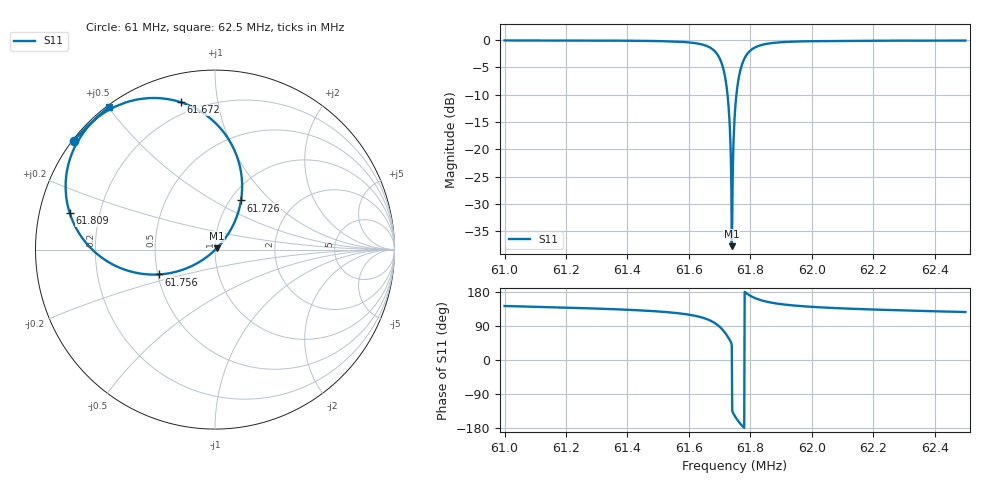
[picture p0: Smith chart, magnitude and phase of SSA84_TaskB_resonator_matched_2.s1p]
#  HZ  S  DB  R  50.00
! Rohde & Schwarz ZVB8 2Ports - Version 3.70 - 1145.1010k08 SN: 100925
! Date: 2021-12-10 17:20:26
! Measurement: S11
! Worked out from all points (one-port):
!   1001 points, 61 MHz to 62.5 MHz, reference 50 ohm
!   lowest |S11| = -37.8 dB at 61.739 MHz (marker M1), VSWR 1.03, Z = 51 + j0.803 ohm
!   |S11| at or under -10 dB: 61.72566 MHz to 61.75461 MHz (28.96 kHz wide, 0.0469 % of centre)
!   S11 on the Smith chart (normalised r, x): 61 MHz: 0.00, +0.34; 61.672 MHz: 0.14, +0.78; 61.726 MHz: 1.12, +0.68; 61.756 MHz: 0.51, -0.16; 61.809 MHz: 0.09, +0.12; 62.5 MHz: 0.01, +0.50
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6.1e7  -0.07 142.4
6.11875e7  -0.08 138.5
6.1375e7  -0.11 133.4
6.15625e7  -0.29 123.7
6.1627e7  -0.62 115.4
6.1672e7  -1.48 103.1
6.16915e7  -2.53 93.4
6.17065e7  -4.24 82.6
6.17185e7  -6.99 70.9
6.1726e7  -10.18 62.1
6.17305e7  -13.31 56.3
6.17335e7  -16.48 52.2
6.1735e7  -18.70 50.0
6.17395e7  -37.75 37.4
6.17425e7  -25.00 -137.5
6.17455e7  -18.11 -142.5
6.1747e7  -16.05 -144.6
6.175e7  -13.05 -148.7
6.1756e7  -9.30 -156.2
6.1765e7  -6.12 -166.0
6.17755e7  -4.06 -175.5
6.17905e7  -2.49 174.3
6.18085e7  -1.56 165.8
6.18595e7  -0.63 152.7
6.19375e7  -0.29 144.1
6.2125e7  -0.13 135.3
6.23125e7  -0.10 130.5
6.25e7  -0.09 126.6
